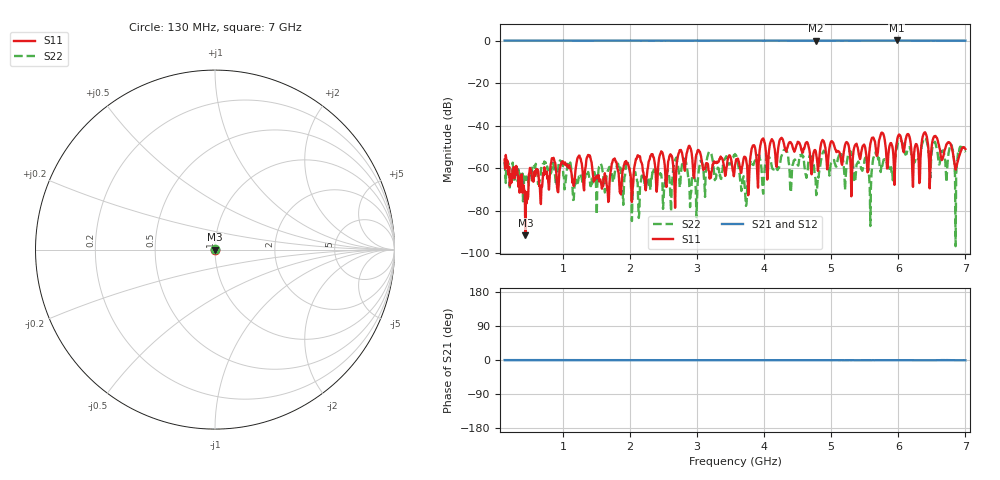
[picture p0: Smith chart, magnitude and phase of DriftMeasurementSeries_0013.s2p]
# Hz S RI R 50.000000
! Metas.Vna.Tools, 2.8.8664.20301
! Metas.Vna.Data, 2.8.8664.20285
! Created: UTC 2024.02.11 10:08:10
! FREQ  re:S1,1  im:S1,1  re:S2,1  im:S2,1  re:S1,2  im:S1,2  re:S2,2  im:S2,2
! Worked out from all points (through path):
!   801 points, 130 MHz to 7 GHz, reference 50 ohm
!   highest |S21| = 0.04 dB at 5.978 GHz (marker M1); lowest = -0.1 dB at 4.776 GHz (marker M2)
!   lowest |S11| = -91.6 dB at 439.1 MHz (marker M3), VSWR 1.00, Z = 50 + j0.00262 ohm
!   |S11| at or under -10 dB: start of sweep to end of sweep
!   |S22| runs from -96.8 to -45.8 dB; largest |S21 - S12| = 0.0078
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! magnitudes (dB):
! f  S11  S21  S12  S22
! 130 MHz  -56.1  0.0  0.0  -57.2
! 439.1 MHz  -91.6  0.0  0.0  -65.5
! 851.4 MHz  -55.6  0.0  0.0  -57.4
! 1.281 GHz  -57.9  0.0  0.0  -64.9
! 1.667 GHz  -71.0  0.0  0.0  -61.2
! 1.762 GHz  -56.0  0.0  0.0  -64.9
! 2.139 GHz  -54.8  0.0  0.0  -80.4
! 2.423 GHz  -58.1  0.0  0.0  -60.8
! 2.809 GHz  -59.7  0.0  0.0  -56.1
! 2.981 GHz  -54.8  0.0  0.0  -70.2
! 3.179 GHz  -61.6  0.0  0.0  -52.4
! 3.299 GHz  -57.0  0.0  0.0  -62.5
! 3.565 GHz  -58.6  0.0  0.0  -53.4
! 3.711 GHz  -54.7  0.0  0.0  -69.2
! 3.9 GHz  -64.7  0.0  0.0  -54.5
! 4.261 GHz  -45.8  0.0  0.0  -54.2
! 4.716 GHz  -58.6  0.0  0.0  -55.7
! 4.776 GHz  -53.6  -0.1  0.0  -72.8
! 4.896 GHz  -48.2  0.0  0.0  -52.0
! 5.858 GHz  -51.7  0.0  0.0  -59.7
! 5.978 GHz  -47.9  0.0  0.0  -51.0
! 7 GHz  -51.1  0.0  0.0  -52.5
